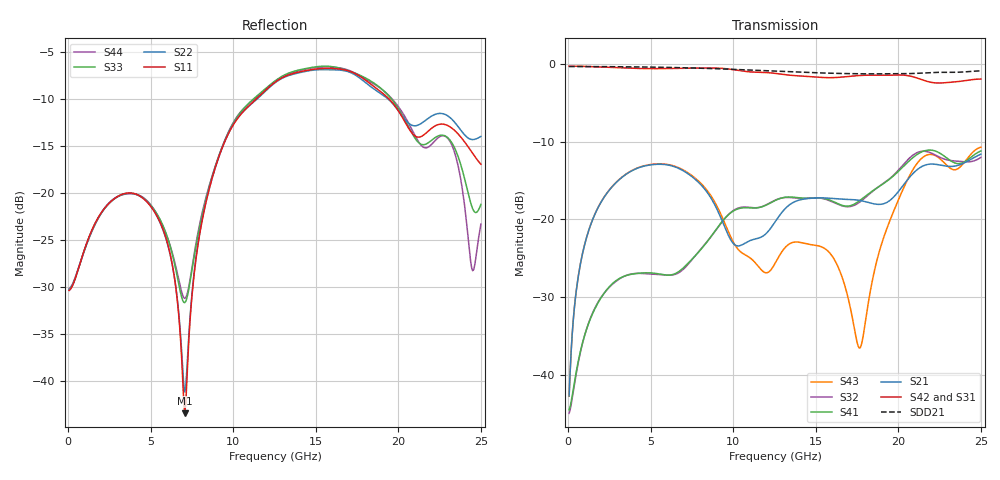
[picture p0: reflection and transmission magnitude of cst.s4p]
! BV_ts_m2_per0_q050f25s_e35_in2gnd: /TS-USB4 Components/M2_PER0_P via F.Cu→In3.Cu at (161.287, 130.742) with its partner – diagnosis: In2 joined to every GND via
! stackup: Thunderscope_Rev5.3 from the board file and its kisi.json
! ports: 1 P in, 2 N in, 3 P out, 4 N out
! CST Studio Suite 2025.5 Release from 2025-05-30, time domain (FIT, hexahedral, PBA), 264320 mesh cells, 96 s
! mesh: {'lpw': 20, 'lpb': 20, 'minstep': 0.0, 'ratio': 20}; ports: port 1 (face); port 2 (face); port 3 (face); port 4 (face)
! interpolated from CST's 1001 samples to the case grid
# Hz S RI R 50
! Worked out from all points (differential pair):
!   400 points, 62.5 MHz to 25 GHz, reference 50 ohm
!   strongest paths, dB at 62.5 MHz, 6.312 GHz, 12.56 GHz, 18.81 GHz, 25 GHz:
!     S42: -0.3, -0.6, -1.2, -1.4, -1.9
!     S31: -0.3, -0.6, -1.2, -1.4, -2.1
!     S21: -42.7, -13.1, -20.3, -18.1, -11.6
!     S41: -44.6, -27.1, -17.6, -15.8, -11.2
!     S32: -45.0, -27.2, -17.5, -15.8, -12.0
!     S43: -42.8, -13.1, -25.6, -24.4, -10.7
!   taken as a pair (ports 2,1 in; 4,3 out), SDD21 dB: -0.3, -0.4, -0.9, -1.3, -0.9
!   lowest |S11| = -43.4 dB at 7.062 GHz (marker M1), VSWR 1.01, Z = 49.7 - j0.62 ohm
!   |S11| at or under -10 dB: start of sweep to 11.37 GHz; 19.46 GHz to end of sweep
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6.25e7  -0.0303 0.00322  0.00574 0.00424  0.9693 -0.0193  0.00523 -0.00119
        0.00597 0.00419  -0.0306 0.00329  0.00569 -0.00129  0.9687 -0.0192
        0.9693 -0.0193  0.00549 -0.00124  -0.0303 0.0032  0.00543 0.00431
        0.00577 -0.0013  0.969 -0.0192  0.00589 0.00422  -0.031 0.00332
4.8125e9  0.0876 0.0172  0.2225 0.0124  0.086 -0.9311  -0.0411 0.0173
          0.2222 0.0124  0.088 0.0166  -0.0416 0.017  0.0855 -0.9312
          0.086 -0.9311  -0.0412 0.0169  0.0849 0.0302  0.2236 0.018
          -0.0418 0.0173  0.0852 -0.9312  0.223 0.018  0.0854 0.0308
7.0625e9  -0.0026 -0.00623  0.1688 -0.1132  -0.5241 -0.782  -0.0381 0.0305
          0.1685 -0.113  -0.00315 -0.00819  -0.0388 0.0301  -0.5251 -0.7817
          -0.5241 -0.782  -0.0386 0.0296  0.015 0.0214  0.1738 -0.1105
          -0.0385 0.0312  -0.5253 -0.7814  0.1734 -0.11  0.0163 0.0223
9.3125e9  -0.0706 0.1579  0.0487 -0.0863  -0.9069 -0.241  -0.0357 0.0887
          0.0486 -0.0859  -0.0742 0.1562  -0.0379 0.0885  -0.9079 -0.2392
          -0.9069 -0.2409  -0.0381 0.0879  -0.00987 0.1744  0.0465 -0.0941
          -0.0354 0.0896  -0.9077 -0.2389  0.0467 -0.0932  -0.00586 0.1747
1.525e10  0.4498 0.0998  0.0889 -0.1059  -0.0428 0.8212  0.1302 -0.0421
          0.0885 -0.1051  0.442 0.1073  0.132 -0.0357  -0.0404 0.8204
          -0.0427 0.8212  0.1319 -0.0372  0.4699 -0.059  0.0643 -0.0193
          0.1309 -0.0408  -0.0397 0.8206  0.0647 -0.0176  0.464 -0.0689
1.7625e10  0.3875 -0.1678  -0.0454 -0.1257  0.4909 0.6814  0.0927 -0.0904
           -0.0446 -0.1247  0.3846 -0.1505  0.0981 -0.0841  0.4999 0.6799
           0.4912 0.6814  0.0965 -0.0844  0.2948 -0.3089  0.0114 0.00569
           0.0946 -0.0907  0.5004 0.6791  0.0136 0.00598  0.2791 -0.32
2.5e10  0.0601 -0.1296  0.2441 0.1051  0.1789 -0.7699  -0.2754 0.0218
        0.2417 0.1035  0.1157 -0.164  -0.2557 0.00659  0.1783 -0.7793
        0.1799 -0.7683  -0.2506 0.00261  -0.0135 -0.0862  0.2881 -0.0517
        -0.2742 0.0271  0.1834 -0.7787  0.2874 -0.0489  -0.00473 -0.0684
